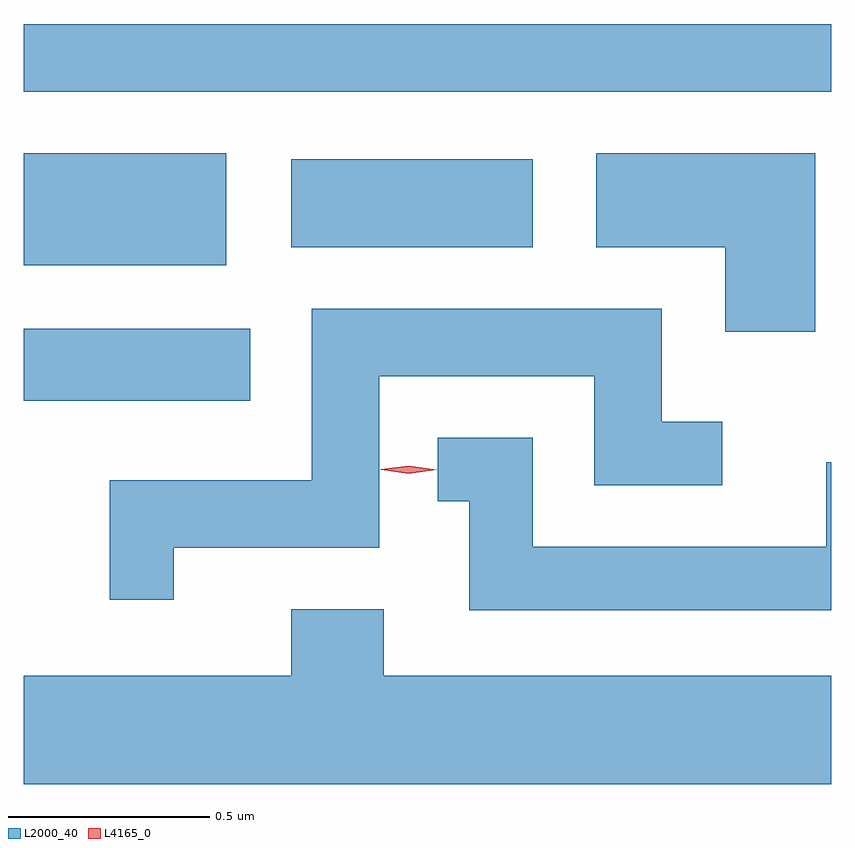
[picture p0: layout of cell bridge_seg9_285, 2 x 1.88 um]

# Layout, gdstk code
import gdstk
lib = gdstk.Library(unit=1e-6, precision=1e-09)
def R(c, l, rs):  # rectangles x0, y0, x1, y1
    for r in rs: c.add(gdstk.rectangle(r[:2], r[2:], *l))
def P(c, l, *ps):  # polygons
    for p in ps: c.add(gdstk.Polygon(p, *l))
L2000_40 = (2000, 40)
L4165_0 = (4165, 0)

bridge_seg9_285 = lib.new_cell('bridge_seg9_285')
R(bridge_seg9_285, L2000_40, [(987.148,2039.386,987.709,2039.564), (987.148,2039.721,987.649,2039.999), (987.811,2039.766,988.409,2039.984), (987.148,2040.151,989.148,2040.319)])
P(bridge_seg9_285, L2000_40, [(989.109,2039.999),(988.566,2039.999),(988.566,2039.766),(988.886,2039.766),(988.886,2039.556),(989.109,2039.556)],
  [(987.519,2039.021),(988.029,2039.021),(988.029,2039.446),(988.561,2039.446),(988.561,2039.176),(988.878,2039.176),(988.878,2039.334),(988.729,2039.334),(988.729,2039.614),(987.861,2039.614),(987.861,2039.189),(987.361,2039.189),(987.361,2038.893),(987.519,2038.893)],
  [(989.148,2039.233),(989.136,2039.233),(989.136,2039.024),(988.409,2039.024),(988.409,2039.294),(988.173,2039.294),(988.173,2039.136),(988.251,2039.136),(988.251,2038.866),(989.148,2038.866)],
  [(989.148,2038.704),(988.039,2038.704),(988.039,2038.869),(987.811,2038.869),(987.811,2038.704),(987.148,2038.704),(987.148,2038.436),(989.148,2038.436)])
P(bridge_seg9_285, L4165_0, [(988.101,2039.205),(988.032,2039.215),(988.032,2039.215),(988.032,2039.216),(988.101,2039.225),(988.171,2039.215),(988.171,2039.215),(988.171,2039.214)])

lib.write_gds('bridge_seg9_285.gds')
